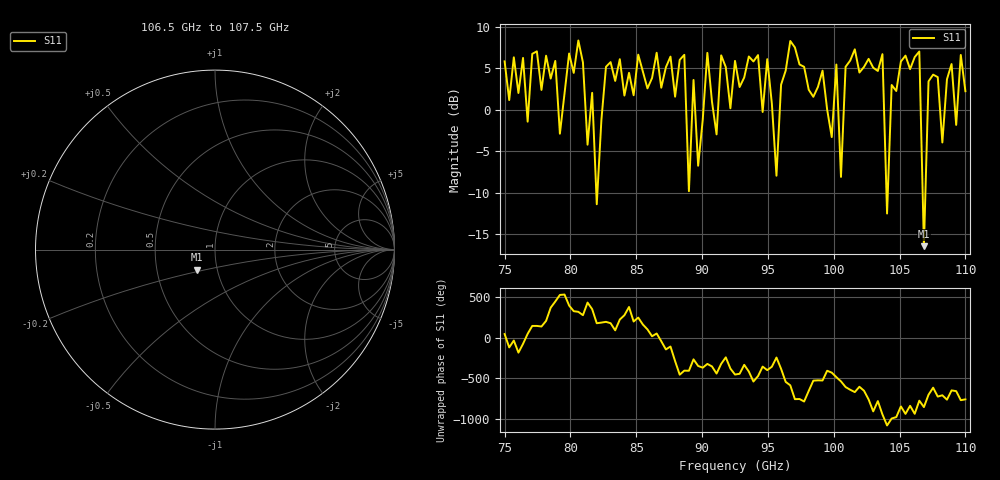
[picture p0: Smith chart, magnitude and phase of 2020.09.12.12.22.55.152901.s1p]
!Created with skrf (http://scikit-rf.org).
# GHz S RI R 50.0
!freq ReS11 ImS11
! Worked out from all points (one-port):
!   101 points, 75 GHz to 110 GHz, reference 50 ohm
!   lowest |S11| = -16.4 dB at 106.8 GHz (marker M1), VSWR 1.36, Z = 39.9 - j9.2 ohm
!   |S11| at or under -10 dB: 81.96414 GHz to 82.04764 GHz (83.5 MHz wide, 0.102 % of centre); 104.0046 GHz to 104.1063 GHz (101.7 MHz wide, 0.0978 % of centre); 106.7541 GHz to 106.9633 GHz (209.2 MHz wide, 0.196 % of centre)
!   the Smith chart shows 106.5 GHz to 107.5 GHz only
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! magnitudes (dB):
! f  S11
! 75 GHz  5.8
! 79.55 GHz  2.0
! 80.6 GHz  8.4
! 82 GHz  -11.4
! 82.7 GHz  5.2
! 83.75 GHz  6.1
! 88.3 GHz  6.0
! 89 GHz  -9.8
! 89.35 GHz  3.6
! 89.7 GHz  -6.7
! 90.4 GHz  6.9
! 91.1 GHz  -3.0
! 92.5 GHz  5.9
! 94.95 GHz  6.1
! 95.65 GHz  -7.9
! 97.05 GHz  7.5
! 99.85 GHz  -3.3
! 100.2 GHz  5.5
! 100.5 GHz  -8.1
! 101.2 GHz  5.9
! 103.7 GHz  6.7
! 104 GHz  -12.5
! 104.4 GHz  3.0
! 105.8 GHz  4.9
! 106.5 GHz  7.0
! 106.8 GHz  -16.4
! 107.2 GHz  3.4
! 110 GHz  2.2
